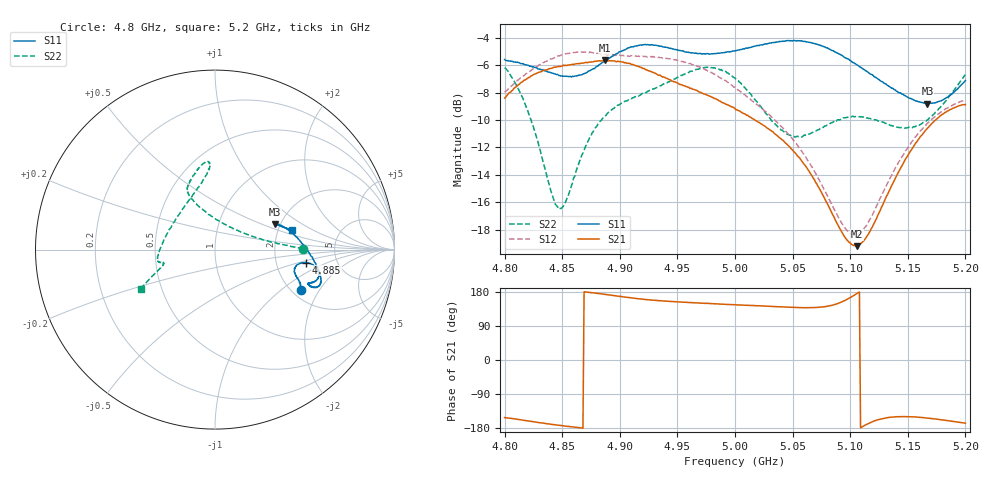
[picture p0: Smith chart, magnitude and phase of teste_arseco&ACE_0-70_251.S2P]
! Network Analyzer HP8722D
! Hewlett-Packard
! Data name: Linha & Wilkinson
! Saver's name: Rodrigo Anjos
! Comments: Teste da utilização de aquisição
! continua pelo VNA HP8722D
! Time and date: 8/5/2025 14:51
!  Frequency  S11  S21  S12  S22
# HZ  S  MA R 50
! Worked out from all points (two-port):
!   401 points, 4.8 GHz to 5.2 GHz, reference 50 ohm
!   highest |S21| = -5.63 dB at 4.887 GHz (marker M1); lowest = -19.2 dB at 5.106 GHz (marker M2)
!   |S21| within 3 dB of the highest: start of sweep to 4.987 GHz
!   lowest |S11| = -8.8 dB at 5.167 GHz (marker M3), VSWR 2.14, Z = 93.5 + j30.9 ohm
!   |S11| at or under -10 dB: nowhere
!   |S22| runs from -16.5 to -6.1 dB; largest |S21 - S12| = 1.1
!   S11 on the Smith chart (normalised r, x): 4.8 GHz: 2.23, -1.38; 4.885 GHz: 2.99, -0.58; 5.2 GHz: 2.36, +0.65
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4.8e9  0.5268 -25.1  0.3807 -152.0  0.3997 7.6  0.492 0.6
4.82e9  0.5022 -20.5  0.4499 -160.5  0.4724 4.4  0.3431 6.1
4.842e9  0.4694 -17.4  0.4913 -170.2  0.5314 1.1  0.1653 40.3
4.846e9  0.4646 -16.2  0.4954 -172.0  0.5423 0.2  0.1524 54.7
4.853e9  0.458 -14.8  0.5017 -174.6  0.5527 -1.0  0.1589 80.4
4.867e9  0.4632 -10.7  0.5107 -179.5  0.5606 -3.0  0.2351 107.2
4.885e9  0.5138 -8.0  0.5204 174.2  0.5514 -4.2  0.3207 114.8
4.887e9  0.5193 -8.2  0.5231 173.3  0.5507 -3.9  0.327 115.2
4.909e9  0.5843 -11.2  0.5091 164.3  0.542 -3.4  0.3795 114.1
4.934e9  0.5909 -16.7  0.4616 156.4  0.5371 -4.0  0.4202 107.7
4.975e9  0.5529 -20.1  0.3915 149.5  0.4827 -7.5  0.4935 95.7
5e9  0.5671 -20.9  0.3485 145.6  0.4171 -7.3  0.4503 94.6
5.044e9  0.6161 -18.8  0.2606 139.7  0.2884 1.0  0.2838 132.4
5.067e9  0.606 -14.1  0.1974 138.1  0.2127 8.5  0.2846 165.0
5.094e9  0.5408 -4.1  0.1205 155.1  0.1303 34.8  0.3226 -173.2
5.106e9  0.5032 1.3  0.1094 175.7  0.1204 57.9  0.3264 -169.3
5.117e9  0.4674 7.4  0.1236 -165.8  0.1369 78.1  0.3208 -167.6
5.134e9  0.4192 15.4  0.1748 -151.3  0.1917 94.1  0.3039 -166.5
5.154e9  0.3771 22.2  0.2495 -150.0  0.2652 99.0  0.2969 -164.3
5.167e9  0.3637 23.2  0.2951 -153.3  0.3078 99.5  0.3169 -161.9
5.183e9  0.3804 20.6  0.338 -159.4  0.3484 99.4  0.3714 -157.5
5.2e9  0.441 14.6  0.3603 -166.8  0.3758 100.0  0.4634 -152.1
